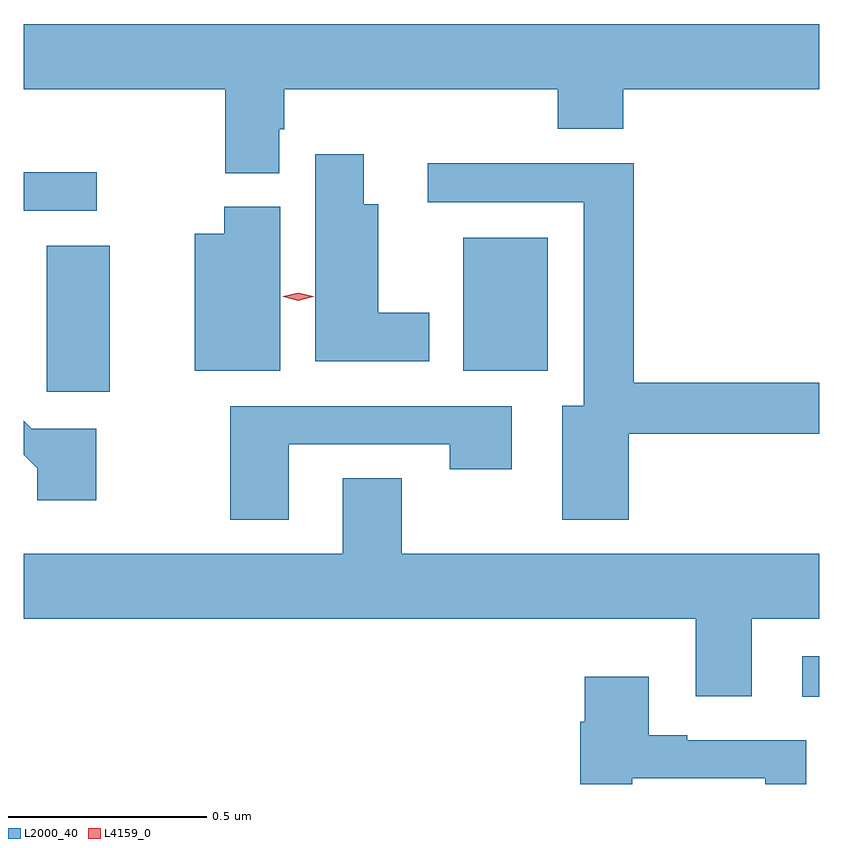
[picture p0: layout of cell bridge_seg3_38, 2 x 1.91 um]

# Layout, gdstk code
import gdstk
lib = gdstk.Library(unit=1e-6, precision=1e-09)
def R(c, l, rs):  # rectangles x0, y0, x1, y1
    for r in rs: c.add(gdstk.rectangle(r[:2], r[2:], *l))
def P(c, l, *ps):  # polygons
    for p in ps: c.add(gdstk.Polygon(p, *l))
L2000_40 = (2000, 40)
L4159_0 = (4159, 0)

bridge_seg3_38 = lib.new_cell('bridge_seg3_38')
R(bridge_seg3_38, L2000_40, [(679.407,707.381,679.449,707.482), (677.507,708.147,677.665,708.514), (678.554,708.2,678.766,708.535), (677.449,708.603,677.632,708.699)])
P(bridge_seg3_38, L2000_40, [(678.091,708.807),(678.104,708.807),(678.104,708.908),(678.791,708.908),(678.791,708.809),(678.956,708.809),(678.956,708.908),(679.449,708.908),(679.449,709.072),(677.449,709.072),(677.449,708.908),(677.956,708.908),(677.956,708.697),(678.091,708.697)],
  [(678.469,708.346),(678.34,708.346),(678.34,708.619),(678.304,708.619),(678.304,708.745),(678.182,708.745),(678.182,708.224),(678.469,708.224)],
  [(678.97,708.042),(679.449,708.042),(679.449,708.17),(678.983,708.17),(678.983,708.722),(678.465,708.722),(678.465,708.624),(678.857,708.624),(678.857,708.112),(678.803,708.112),(678.803,707.826),(678.97,707.826)],
  [(678.094,708.612),(677.953,708.612),(677.953,708.544),(677.879,708.544),(677.879,708.2),(678.094,708.2)],
  [(678.115,708.015),(678.52,708.015),(678.52,707.952),(678.676,707.952),(678.676,708.111),(677.968,708.111),(677.968,707.826),(678.115,707.826)],
  [(677.631,708.054),(677.469,708.054),(677.449,708.074),(677.449,707.989),(677.483,707.955),(677.483,707.874),(677.631,707.874)],
  [(679.279,707.576),(679.449,707.576),(679.449,707.74),(678.399,707.74),(678.399,707.93),(678.251,707.93),(678.251,707.74),(677.449,707.74),(677.449,707.576),(679.139,707.576),(679.139,707.382),(679.279,707.382)],
  [(678.979,707.175),(679.313,707.175),(679.313,707.161),(679.417,707.161),(679.417,707.271),(679.117,707.271),(679.117,707.284),(679.021,707.284),(679.021,707.431),(678.86,707.431),(678.86,707.318),(678.848,707.318),(678.848,707.161),(678.979,707.161)])
P(bridge_seg3_38, L4159_0, [(678.139,708.376),(678.101,708.386),(678.1,708.386),(678.101,708.387),(678.139,708.396),(678.177,708.387),(678.178,708.386),(678.177,708.386)])

lib.write_gds('bridge_seg3_38.gds')
